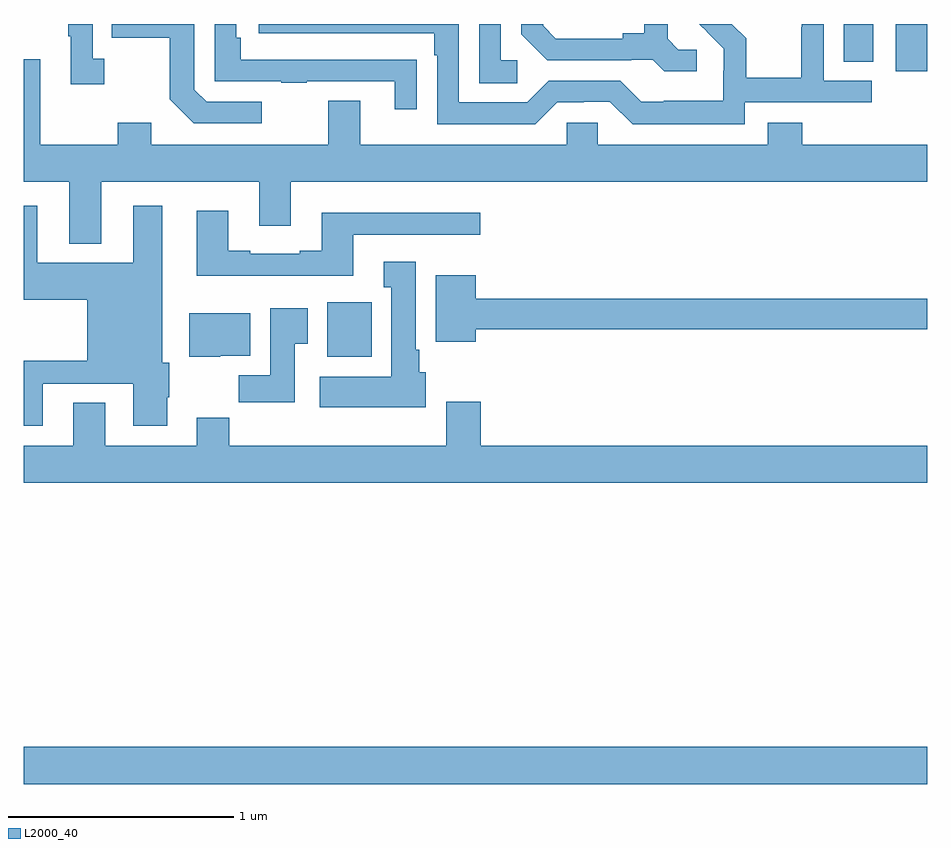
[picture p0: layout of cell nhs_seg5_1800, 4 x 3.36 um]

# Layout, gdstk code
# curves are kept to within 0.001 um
import gdstk
lib = gdstk.Library(unit=1e-6, precision=1e-09)
def R(c, l, rs):  # rectangles x0, y0, x1, y1
    for r in rs: c.add(gdstk.rectangle(r[:2], r[2:], *l))
def P(c, l, *ps):  # polygons
    for p in ps: c.add(gdstk.Polygon(p, *l))
L2000_40 = (2000, 40)

nhs_seg5_1800 = lib.new_cell('nhs_seg5_1800')
R(nhs_seg5_1800, L2000_40, [(219,847.436,223,847.6), (220.343,849.326,220.54,849.568), (222.86,850.59,223,850.799), (222.629,850.633,222.76,850.799)])
P(nhs_seg5_1800, L2000_40, [(222.192,850.452),(222.754,850.452),(222.754,850.548),(222.54,850.548),(222.54,850.799),(222.444,850.799),(222.444,850.784),(222.442,850.784),(222.442,850.561),(222.197,850.561),(222.197,850.735),(222.133,850.799),(221.991,850.799),(222.098,850.69),(222.098,850.593),(222.096,850.593),(222.096,850.459),(221.833,850.459),(221.833,850.455),(221.733,850.455),(221.64,850.548),(221.325,850.548),(221.229,850.452),(220.926,850.452),(220.926,850.799),(220.041,850.799),(220.041,850.758),(220.817,850.758),(220.817,850.661),(220.83,850.661),(220.83,850.356),(221.265,850.356),(221.361,850.452),(221.48,850.452),(221.48,850.455),(221.595,850.455),(221.695,850.355),(222.192,850.355)],
  [(221.98,850.686),(221.898,850.686),(221.851,850.733),(221.851,850.799),(221.747,850.799),(221.747,850.757),(221.651,850.757),(221.651,850.734),(221.356,850.734),(221.299,850.791),(221.299,850.799),(221.202,850.799),(221.202,850.754),(221.318,850.638),(221.69,850.638),(221.69,850.641),(221.784,850.641),(221.836,850.589),(221.98,850.589)],
  [(219.358,850.646),(219.306,850.646),(219.306,850.799),(219.198,850.799),(219.198,850.745),(219.209,850.745),(219.209,850.533),(219.358,850.533)],
  [(221.185,850.638),(221.112,850.638),(221.112,850.799),(221.016,850.799),(221.016,850.537),(221.185,850.537)],
  [(220.739,850.64),(220.637,850.64),(220.637,850.641),(219.962,850.641),(219.962,850.738),(219.942,850.738),(219.942,850.799),(219.846,850.799),(219.846,850.545),(220.141,850.545),(220.141,850.54),(220.253,850.54),(220.253,850.545),(220.643,850.545),(220.643,850.422),(220.739,850.422)],
  [(220.054,850.455),(219.81,850.455),(219.756,850.509),(219.756,850.799),(219.391,850.799),(219.391,850.738),(219.648,850.738),(219.648,850.465),(219.753,850.359),(220.054,850.359)],
  [(219.343,850.1),(220.043,850.1),(220.043,849.906),(220.183,849.906),(220.183,850.1),(223,850.1),(223,850.264),(222.446,850.264),(222.446,850.363),(222.293,850.363),(222.293,850.264),(221.541,850.264),(221.541,850.362),(221.403,850.362),(221.403,850.264),(220.489,850.264),(220.489,850.459),(220.349,850.459),(220.349,850.264),(219.565,850.264),(219.565,850.363),(219.418,850.363),(219.418,850.264),(219.073,850.264),(219.073,850.642),(219,850.642),(219,850.1),(219.203,850.1),(219.203,849.827),(219.343,849.827)],
  [(219.085,849.207),(219.485,849.207),(219.485,849.021),(219.637,849.021),(219.637,849.148),(219.645,849.148),(219.645,849.3),(219.613,849.3),(219.613,849.994),(219.485,849.994),(219.485,849.742),(219.061,849.742),(219.061,849.994),(219,849.994),(219,849.578),(219.281,849.578),(219.281,849.308),(219,849.308),(219,849.021),(219.085,849.021)],
  [(220.459,849.867),(221.02,849.867),(221.02,849.964),(220.319,849.964),(220.319,849.796),(220.223,849.796),(220.223,849.783),(220.003,849.783),(220.003,849.796),(219.907,849.796),(219.907,849.973),(219.767,849.973),(219.767,849.686),(220.459,849.686)],
  [(220.78,849.258),(220.75,849.258),(220.75,849.358),(220.735,849.358),(220.735,849.748),(220.595,849.748),(220.595,849.635),(220.628,849.635),(220.628,849.238),(220.311,849.238),(220.311,849.104),(220.78,849.104)],
  [(221.002,849.448),(223,849.448),(223,849.584),(221.002,849.584),(221.002,849.688),(220.823,849.688),(220.823,849.392),(221.002,849.392)],
  [(220.201,849.385),(220.258,849.385),(220.258,849.541),(220.091,849.541),(220.091,849.244),(219.952,849.244),(219.952,849.126),(220.201,849.126)],
  [(219.87,849.332),(220.003,849.332),(220.003,849.52),(219.734,849.52),(219.734,849.326),(219.87,849.326)],
  [(223,848.932),(221.024,848.932),(221.024,849.127),(220.871,849.127),(220.871,848.932),(219.911,848.932),(219.911,849.056),(219.767,849.056),(219.767,848.932),(219.361,848.932),(219.361,849.122),(219.221,849.122),(219.221,848.932),(219,848.932),(219,848.768),(223,848.768)])

lib.write_gds('nhs_seg5_1800.gds')
